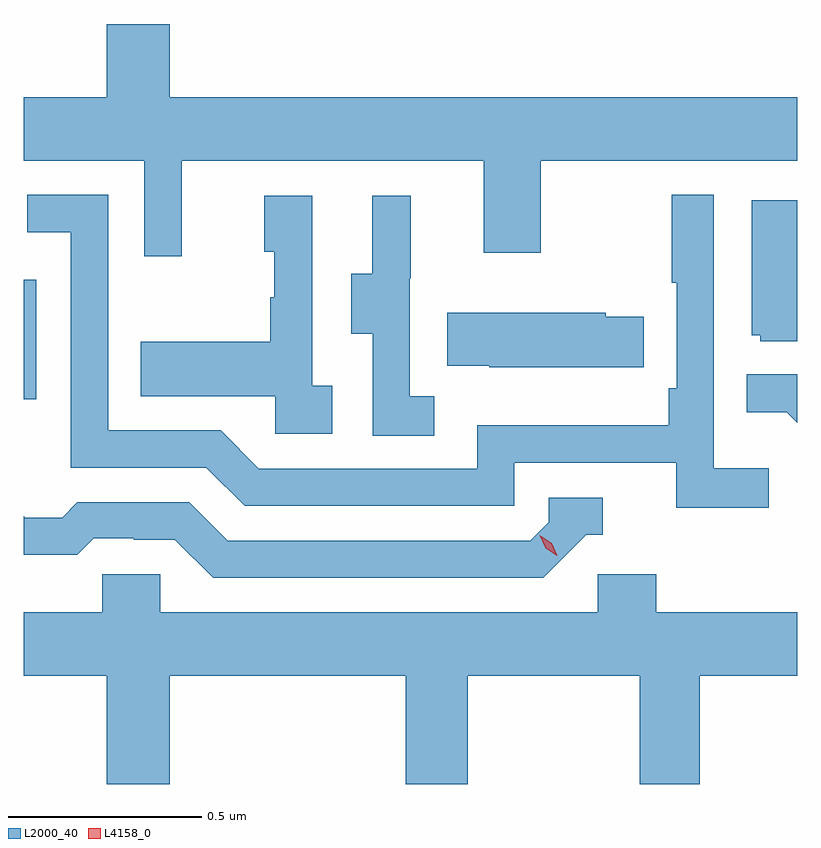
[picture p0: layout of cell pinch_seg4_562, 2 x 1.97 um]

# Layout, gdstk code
import gdstk
lib = gdstk.Library(unit=1e-6, precision=1e-09)
def R(c, l, rs):  # rectangles x0, y0, x1, y1
    for r in rs: c.add(gdstk.rectangle(r[:2], r[2:], *l))
def P(c, l, *ps):  # polygons
    for p in ps: c.add(gdstk.Polygon(p, *l))
L2000_40 = (2000, 40)
L4158_0 = (4158, 0)

pinch_seg4_562 = lib.new_cell('pinch_seg4_562')
R(pinch_seg4_562, L2000_40, [(1087.87,784.215,1087.902,784.524)])
P(pinch_seg4_562, L2000_40, [(1088.084,784.996),(1087.87,784.996),(1087.87,784.832),(1088.181,784.832),(1088.181,784.584),(1088.279,784.584),(1088.279,784.832),(1089.059,784.832),(1089.059,784.593),(1089.207,784.593),(1089.207,784.832),(1089.87,784.832),(1089.87,784.996),(1088.248,784.996),(1088.248,785.185),(1088.084,785.185)],
  [(1089.796,784.036),(1089.654,784.036),(1089.654,784.744),(1089.546,784.744),(1089.546,784.516),(1089.558,784.516),(1089.558,784.243),(1089.538,784.243),(1089.538,784.147),(1089.042,784.147),(1089.042,784.035),(1088.478,784.035),(1088.379,784.134),(1088.088,784.134),(1088.088,784.743),(1087.879,784.743),(1087.879,784.647),(1087.992,784.647),(1087.992,784.038),(1088.342,784.038),(1088.441,783.939),(1089.138,783.939),(1089.138,784.05),(1089.557,784.05),(1089.557,783.934),(1089.796,783.934)],
  [(1088.668,784.25),(1088.616,784.25),(1088.616,784.741),(1088.492,784.741),(1088.492,784.596),(1088.518,784.596),(1088.518,784.478),(1088.508,784.478),(1088.508,784.363),(1088.173,784.363),(1088.173,784.223),(1088.52,784.223),(1088.52,784.125),(1088.668,784.125)],
  [(1088.932,784.223),(1088.868,784.223),(1088.868,784.527),(1088.87,784.527),(1088.87,784.741),(1088.771,784.741),(1088.771,784.539),(1088.717,784.539),(1088.717,784.384),(1088.772,784.384),(1088.772,784.12),(1088.932,784.12)],
  [(1089.87,784.729),(1089.752,784.729),(1089.752,784.38),(1089.774,784.38),(1089.774,784.365),(1089.87,784.365)],
  [(1089.473,784.428),(1089.375,784.428),(1089.375,784.438),(1088.965,784.438),(1088.965,784.301),(1089.073,784.301),(1089.073,784.298),(1089.473,784.298)],
  [(1089.87,784.28),(1089.739,784.28),(1089.739,784.181),(1089.843,784.181),(1089.87,784.154)],
  [(1089.324,783.864),(1089.367,783.864),(1089.367,783.96),(1089.228,783.96),(1089.228,783.897),(1089.18,783.849),(1088.397,783.849),(1088.298,783.948),(1088.009,783.948),(1087.97,783.909),(1087.871,783.909),(1087.871,783.912),(1087.87,783.912),(1087.87,783.813),(1088.009,783.813),(1088.051,783.855),(1088.154,783.855),(1088.154,783.852),(1088.261,783.852),(1088.36,783.753),(1089.213,783.753)],
  [(1088.248,783.5),(1088.858,783.5),(1088.858,783.22),(1089.018,783.22),(1089.018,783.5),(1089.463,783.5),(1089.463,783.22),(1089.618,783.22),(1089.618,783.5),(1089.87,783.5),(1089.87,783.664),(1089.506,783.664),(1089.506,783.762),(1089.354,783.762),(1089.354,783.664),(1088.223,783.664),(1088.223,783.762),(1088.073,783.762),(1088.073,783.664),(1087.87,783.664),(1087.87,783.5),(1088.084,783.5),(1088.084,783.22),(1088.248,783.22)])
P(pinch_seg4_562, L4158_0, [(1089.25,783.81),(1089.22,783.83),(1089.204,783.863),(1089.204,783.863),(1089.204,783.863),(1089.235,783.843),(1089.25,783.81),(1089.25,783.81)])

lib.write_gds('pinch_seg4_562.gds')
